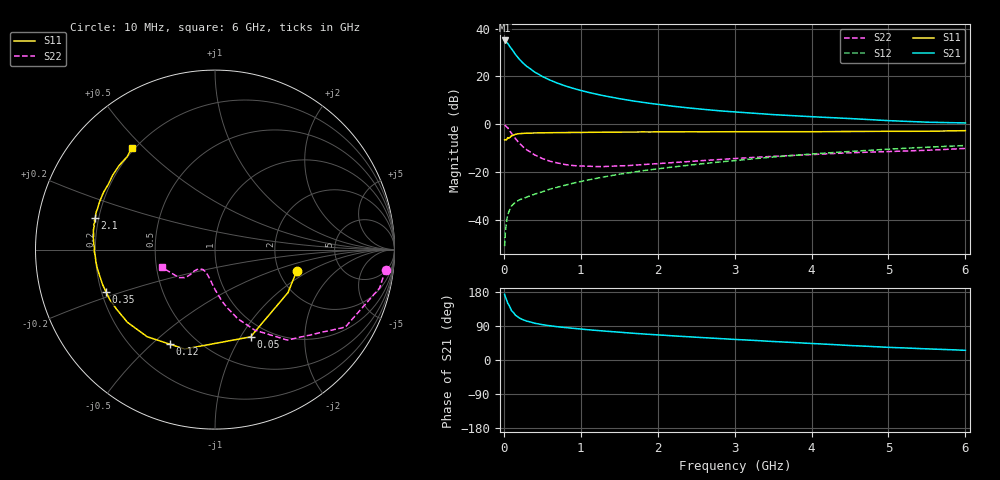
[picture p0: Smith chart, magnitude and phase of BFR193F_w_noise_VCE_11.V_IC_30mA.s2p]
! Infineon Technologies  Discrete & RF Semiconductors
! BFR193F
! VCE =  11. V,  IC =  30 mA
! Common Emitter S-Parameters:  Jan 2017
# GHz  S  MA  R  50
!  f  S11  S21  S12  S22
! GHz  MAG  ANG  MAG  ANG  MAG  ANG  MAG  ANG
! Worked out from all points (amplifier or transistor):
!   77 points, 10 MHz to 6 GHz, reference 50 ohm
!   highest |S21| = 35.1 dB at 10 MHz (marker M1)
!   |S21| within 3 dB of that: start of sweep to 88.11 MHz
!   unconditionally stable (mu >= 1): 1.153 GHz to 2.683 GHz
!   at 130 MHz: K = 0.35, MSG = 31.7 dB, |S12| = -33.3 dB
!   at 2.2 GHz: K = 1.02, MAG = 11.9 dB, |S12| = -17.9 dB
!   at 6 GHz: K = 0.84, MSG = 4.7 dB, |S12| = -8.9 dB
!   lowest NFmin = 1.18 dB at 450 MHz
!   S11 on the Smith chart (normalised r, x): 10 MHz: 2.51, -0.76; 50 MHz: 0.82, -1.11; 120 MHz: 0.36, -0.57; 350 MHz: 0.22, -0.18; 2.1 GHz: 0.19, +0.12; 6 GHz: 0.19, +0.46
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0.01  0.4708 -14.6  56.64 173.1  0.0028 80.5  0.9567 -6.7
0.02  0.472 -30.5  55.11 166.6  0.0055 80.2  0.9419 -13.1
0.05  0.525 -67.8  49.44 150.0  0.0127 66.3  0.8448 -30.7
0.1  0.5793 -106.9  37.82 130.2  0.0194 53.6  0.6451 -51.4
0.12  0.584 -115.6  34.13 126.3  0.0209 51.5  0.5837 -55.6
0.15  0.6153 -128.0  28.98 118.6  0.0233 48.8  0.4994 -63.8
0.2  0.6341 -140.3  23.11 111.1  0.0259 48.2  0.405 -71.8
0.25  0.6413 -148.8  19.01 106.1  0.028 48.8  0.335 -77.7
0.3  0.6492 -154.7  16.17 102.4  0.0299 50.1  0.2899 -82.3
0.35  0.6509 -158.6  14.25 100.1  0.0321 51.4  0.2585 -85.3
0.4  0.6556 -162.5  12.36 97.0  0.0343 52.5  0.228 -89.2
0.5  0.6592 -167.5  9.99 93.3  0.0385 56.0  0.1915 -94.6
0.6  0.6647 -171.4  8.384 90.3  0.0438 59.1  0.1679 -99.4
0.7  0.6672 -174.5  7.215 87.7  0.0481 61.1  0.1542 -103.6
0.8  0.6679 -176.8  6.32 85.6  0.0531 62.4  0.143 -107.8
1.1  0.676 177.4  4.64 79.8  0.0683 67.0  0.132 -117.0
1.5  0.6847 171.7  3.436 73.4  0.0899 69.9  0.1345 -126.1
2.1  0.691 165.3  2.491 65.1  0.1219 71.3  0.1535 -132.6
3.1  0.6963 156.4  1.763 53.3  0.1793 71.2  0.1956 -134.8
4.1  0.6981 147.6  1.411 42.6  0.2438 68.2  0.2356 -138.5
5.1  0.7105 137.6  1.171 32.6  0.3062 63.4  0.2709 -149.9
6  0.7326 129.1  1.063 25.6  0.3584 58.3  0.3111 -161.4
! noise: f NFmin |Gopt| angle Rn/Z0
0.45  1.18  0.39  176  0.06
0.9  1.27  0.42  176  0.07
1.9  1.84  0.57  -168  0.07
2.4  2.13  0.61  -159  0.11
